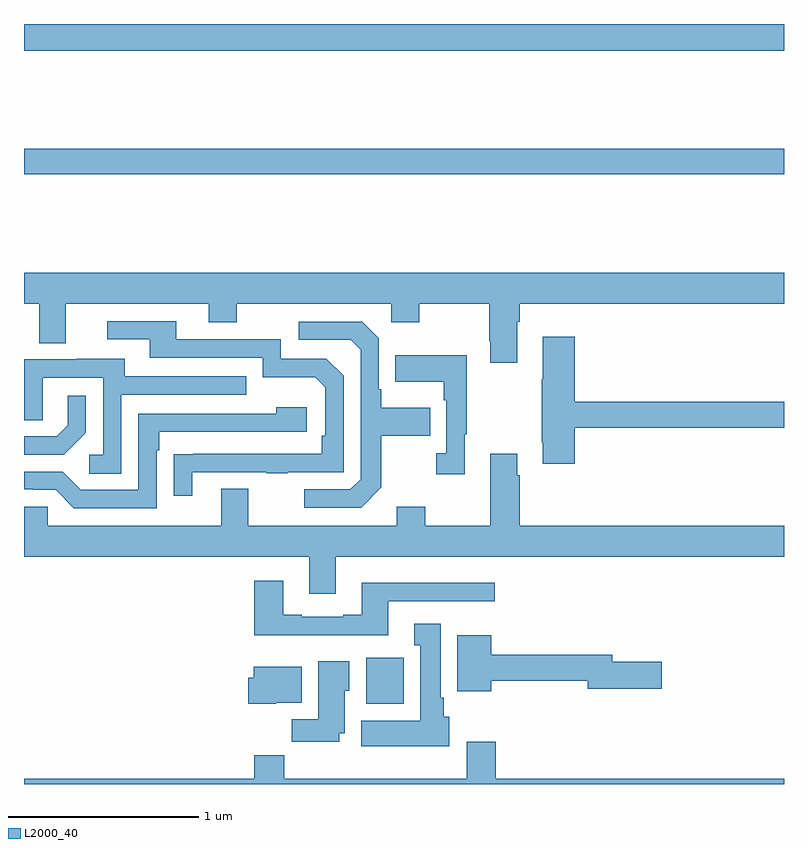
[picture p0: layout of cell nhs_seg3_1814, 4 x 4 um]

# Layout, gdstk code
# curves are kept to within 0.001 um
import gdstk
lib = gdstk.Library(unit=1e-6, precision=1e-09)
def R(c, l, rs):  # rectangles x0, y0, x1, y1
    for r in rs: c.add(gdstk.rectangle(r[:2], r[2:], *l))
def P(c, l, *ps):  # polygons
    for p in ps: c.add(gdstk.Polygon(p, *l))
L2000_40 = (2000, 40)

nhs_seg3_1814 = lib.new_cell('nhs_seg3_1814')
R(nhs_seg3_1814, L2000_40, [(206.801,686.822,206.998,687.064), (205,689.608,209,689.744), (205,690.26,209,690.4)])
P(nhs_seg3_1814, L2000_40, [(207.595,688.832),(207.608,688.832),(207.608,688.928),(209,688.928),(209,689.092),(205,689.092),(205,688.928),(205.079,688.928),(205.079,688.72),(205.219,688.72),(205.219,688.928),(205.973,688.928),(205.973,688.829),(206.121,688.829),(206.121,688.928),(206.934,688.928),(206.934,688.829),(207.081,688.829),(207.081,688.928),(207.448,688.928),(207.448,688.729),(207.455,688.729),(207.455,688.617),(207.595,688.617)],
  [(205.885,688.041),(206.275,688.041),(206.275,688.036),(206.387,688.036),(206.387,688.041),(206.682,688.041),(206.682,688.548),(206.592,688.638),(206.352,688.638),(206.352,688.74),(205.801,688.74),(205.801,688.836),(205.437,688.836),(205.437,688.74),(205.661,688.74),(205.661,688.644),(206.256,688.644),(206.256,688.541),(206.533,688.541),(206.586,688.488),(206.586,688.234),(206.566,688.234),(206.566,688.137),(205.789,688.136),(205.789,687.918),(205.885,687.918)],
  [(206.881,687.961),(206.881,688.234),(207.137,688.234),(207.137,688.381),(206.881,688.381),(206.881,688.477),(206.868,688.477),(206.868,688.746),(206.781,688.833),(206.445,688.833),(206.445,688.737),(206.721,688.737),(206.772,688.686),(206.772,688.005),(206.718,687.951),(206.475,687.951),(206.475,687.855),(206.775,687.855)],
  [(207.899,688.276),(209,688.276),(209,688.412),(207.899,688.412),(207.899,688.753),(207.731,688.753),(207.731,688.529),(207.724,688.529),(207.724,688.198),(207.731,688.198),(207.731,688.086),(207.899,688.086)],
  [(207.319,688.241),(207.331,688.241),(207.331,688.657),(206.953,688.657),(206.953,688.517),(207.21,688.517),(207.21,688.421),(207.222,688.421),(207.222,688.142),(207.171,688.142),(207.171,688.029),(207.319,688.029)],
  [(205.512,688.449),(206.171,688.449),(206.171,688.545),(205.531,688.545),(205.531,688.639),(205.277,688.639),(205.277,688.635),(205,688.635),(205,688.315),(205.098,688.315),(205.098,688.539),(205.416,688.539),(205.416,688.134),(205.344,688.134),(205.344,688.033),(205.512,688.033)],
  [(205.326,688.25),(205.326,688.444),(205.229,688.444),(205.229,688.287),(205.172,688.23),(205,688.23),(205,688.134),(205.21,688.134)],
  [(205.698,688.157),(205.711,688.157),(205.711,688.254),(206.488,688.254),(206.488,688.384),(206.327,688.384),(206.327,688.35),(205.602,688.35),(205.602,687.948),(205.299,687.948),(205.203,688.044),(205,688.044),(205,687.951),(205.049,687.951),(205.049,687.948),(205.167,687.948),(205.263,687.852),(205.698,687.852)],
  [(206.641,687.596),(209,687.596),(209,687.76),(207.608,687.76),(207.608,688.025),(207.595,688.025),(207.595,688.138),(207.455,688.138),(207.455,687.76),(207.111,687.76),(207.111,687.859),(206.963,687.859),(206.963,687.76),(206.179,687.76),(206.179,687.955),(206.039,687.955),(206.039,687.76),(205.125,687.76),(205.125,687.858),(205,687.858),(205,687.596),(206.501,687.596),(206.501,687.402),(206.641,687.402)],
  [(206.917,687.363),(207.478,687.363),(207.478,687.46),(206.777,687.46),(206.777,687.292),(206.681,687.292),(206.681,687.279),(206.461,687.279),(206.461,687.292),(206.365,687.292),(206.365,687.469),(206.213,687.469),(206.213,687.182),(206.917,687.182)],
  [(207.238,686.754),(207.208,686.754),(207.208,686.854),(207.193,686.854),(207.193,687.244),(207.053,687.244),(207.053,687.131),(207.086,687.131),(207.086,686.734),(206.774,686.734),(206.774,686.6),(207.238,686.6)],
  [(207.46,686.944),(207.968,686.944),(207.968,686.902),(208.357,686.902),(208.357,687.044),(208.096,687.044),(208.096,687.08),(207.46,687.08),(207.46,687.184),(207.281,687.184),(207.281,686.888),(207.46,686.888)],
  [(206.659,686.666),(206.689,686.666),(206.689,686.892),(206.713,686.892),(206.713,687.046),(206.549,687.046),(206.549,686.74),(206.41,686.74),(206.41,686.622),(206.659,686.622)],
  [(206.328,686.828),(206.461,686.828),(206.461,687.016),(206.21,687.016),(206.21,686.958),(206.18,686.958),(206.18,686.822),(206.328,686.822)],
  [(209,686.428),(207.482,686.428),(207.482,686.623),(207.329,686.623),(207.329,686.428),(206.369,686.428),(206.369,686.552),(206.213,686.552),(206.213,686.428),(205,686.428),(205,686.4),(209,686.4)])

lib.write_gds('nhs_seg3_1814.gds')
